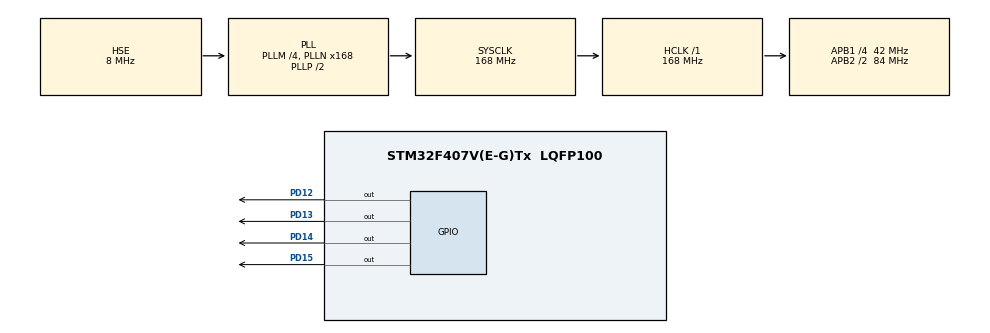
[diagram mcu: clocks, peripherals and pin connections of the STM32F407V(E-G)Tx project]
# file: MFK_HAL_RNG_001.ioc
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Mcu.Family=STM32F4
Mcu.Name=STM32F407V(E-G)Tx
Mcu.Package=LQFP100
NVIC.PriorityGroup=NVIC_PRIORITYGROUP_4
PA13.Mode=Serial_Wire
PA13.Signal=SYS_JTMS-SWDIO
PA14.Mode=Serial_Wire
PA14.Signal=SYS_JTCK-SWCLK
PD12.Signal=GPIO_Output
PD13.Signal=GPIO_Output
PD14.Signal=GPIO_Output
PD15.Signal=GPIO_Output
PH0-OSC_IN.Mode=HSE-External-Oscillator
PH0-OSC_IN.Signal=RCC_OSC_IN
PH1-OSC_OUT.Mode=HSE-External-Oscillator
PH1-OSC_OUT.Signal=RCC_OSC_OUT
ProjectManager.HeapSize=0x200
ProjectManager.StackSize=0x400
ProjectManager.TargetToolchain=STM32CubeIDE
RCC.48MHZClocksFreq_Value=48000000
RCC.AHBFreq_Value=168000000
RCC.APB1CLKDivider=RCC_HCLK_DIV4
RCC.APB1Freq_Value=42000000
RCC.APB1TimFreq_Value=84000000
RCC.APB2CLKDivider=RCC_HCLK_DIV2
RCC.APB2Freq_Value=84000000
RCC.APB2TimFreq_Value=168000000
RCC.CortexFreq_Value=168000000
RCC.HCLKFreq_Value=168000000
RCC.HSE_VALUE=8000000
RCC.HSI_VALUE=16000000
RCC.LSE_VALUE=32768
RCC.PLLM=4
RCC.PLLN=168
RCC.PLLQ=7
RCC.PLLSourceVirtual=RCC_PLLSOURCE_HSE
RCC.SYSCLKFreq_VALUE=168000000
RCC.SYSCLKSource=RCC_SYSCLKSOURCE_PLLCLK
RCC.VCOOutputFreq_Value=336000000
VP_RNG_VS_RNG.Mode=RNG_Activate
board=custom

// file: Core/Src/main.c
/* USER CODE BEGIN Header */
/**
  ******************************************************************************
  * @file           : main.c
  * @brief          : Main program body
  ******************************************************************************
  * @attention
  *
  * Copyright (c) 2023 STMicroelectronics.
  * All rights reserved.
  *
  * This software is licensed under terms that can be found in the LICENSE file
  * in the root directory of this software component.
  * If no LICENSE file comes with this software, it is provided AS-IS.
  *
  ******************************************************************************
  */
/* USER CODE END Header */
#include "main.h"

/* USER CODE BEGIN Includes */

uint32_t randomData;

void RNG_Init()
{
	RNG->CR |= (1 << 2);
	RNG->SR |= (1 << 0);
}

/* USER CODE END Includes */

RNG_HandleTypeDef hrng;

void SystemClock_Config(void);
static void MX_GPIO_Init(void);
static void MX_RNG_Init(void);

int main(void)
{

  /* MCU Configuration--------------------------------------------------------*/

  /* Reset of all peripherals, Initializes the Flash interface and the Systick. */
  HAL_Init();

  /* Configure the system clock */
  SystemClock_Config();

  /* Initialize all configured peripherals */
  MX_GPIO_Init();
  MX_RNG_Init();
  /* USER CODE BEGIN 2 */

  RNG_Init();

  /* USER CODE END 2 */

  /* Infinite loop */
  while (1)
  {

    /* USER CODE BEGIN 3 */
	  randomData = RNG->DR;

	  int temp_led;

	  temp_led = randomData % 3;

	  if(temp_led == 0)
	  {
		  HAL_GPIO_WritePin(GPIOD,GPIO_PIN_12,1);
		  HAL_GPIO_WritePin(GPIOD,GPIO_PIN_13 | GPIO_PIN_14 | GPIO_PIN_15,0);
	  }
	  else if(temp_led == 1)
	  {
		  HAL_GPIO_WritePin(GPIOD,GPIO_PIN_13,1);
		  HAL_GPIO_WritePin(GPIOD,GPIO_PIN_12 | GPIO_PIN_14 | GPIO_PIN_15,0);
	  }
	  else if(temp_led == 2)
	  {
		  HAL_GPIO_WritePin(GPIOD,GPIO_PIN_14,1);
		  HAL_GPIO_WritePin(GPIOD,GPIO_PIN_12 | GPIO_PIN_13 | GPIO_PIN_15,0);
	  }
	  else if(temp_led == 3)
	  {
		  HAL_GPIO_WritePin(GPIOD,GPIO_PIN_15,1);
		  HAL_GPIO_WritePin(GPIOD,GPIO_PIN_12 | GPIO_PIN_13 | GPIO_PIN_14,0);
	  }

	  HAL_Delay(3000);
  }
  /* USER CODE END 3 */
}

void SystemClock_Config(void)
{
  RCC_OscInitTypeDef RCC_OscInitStruct = {0};
  RCC_ClkInitTypeDef RCC_ClkInitStruct = {0};

  /** Configure the main internal regulator output voltage
  */
  __HAL_RCC_PWR_CLK_ENABLE();
  __HAL_PWR_VOLTAGESCALING_CONFIG(PWR_REGULATOR_VOLTAGE_SCALE1);

  /** Initializes the RCC Oscillators according to the specified parameters
  * in the RCC_OscInitTypeDef structure.
  */
  RCC_OscInitStruct.OscillatorType = RCC_OSCILLATORTYPE_HSE;
  RCC_OscInitStruct.HSEState = RCC_HSE_ON;
  RCC_OscInitStruct.PLL.PLLState = RCC_PLL_ON;
  RCC_OscInitStruct.PLL.PLLSource = RCC_PLLSOURCE_HSE;
  RCC_OscInitStruct.PLL.PLLM = 4;
  RCC_OscInitStruct.PLL.PLLN = 168;
  RCC_OscInitStruct.PLL.PLLP = RCC_PLLP_DIV2;
  RCC_OscInitStruct.PLL.PLLQ = 7;
  if (HAL_RCC_OscConfig(&RCC_OscInitStruct) != HAL_OK)
  {
    Error_Handler();
  }

  /** Initializes the CPU, AHB and APB buses clocks
  */
  RCC_ClkInitStruct.ClockType = RCC_CLOCKTYPE_HCLK|RCC_CLOCKTYPE_SYSCLK
                              |RCC_CLOCKTYPE_PCLK1|RCC_CLOCKTYPE_PCLK2;
  RCC_ClkInitStruct.SYSCLKSource = RCC_SYSCLKSOURCE_PLLCLK;
  RCC_ClkInitStruct.AHBCLKDivider = RCC_SYSCLK_DIV1;
  RCC_ClkInitStruct.APB1CLKDivider = RCC_HCLK_DIV4;
  RCC_ClkInitStruct.APB2CLKDivider = RCC_HCLK_DIV2;

  if (HAL_RCC_ClockConfig(&RCC_ClkInitStruct, FLASH_LATENCY_5) != HAL_OK)
  {
    Error_Handler();
  }
}

static void MX_RNG_Init(void)
{

  hrng.Instance = RNG;
  if (HAL_RNG_Init(&hrng) != HAL_OK)
  {
    Error_Handler();
  }

}

static void MX_GPIO_Init(void)
{
  GPIO_InitTypeDef GPIO_InitStruct = {0};

  /* GPIO Ports Clock Enable */
  __HAL_RCC_GPIOH_CLK_ENABLE();
  __HAL_RCC_GPIOD_CLK_ENABLE();
  __HAL_RCC_GPIOA_CLK_ENABLE();

  /*Configure GPIO pin Output Level */
  HAL_GPIO_WritePin(GPIOD, GPIO_PIN_12|GPIO_PIN_13|GPIO_PIN_14|GPIO_PIN_15, GPIO_PIN_RESET);

  /*Configure GPIO pins : PD12 PD13 PD14 PD15 */
  GPIO_InitStruct.Pin = GPIO_PIN_12|GPIO_PIN_13|GPIO_PIN_14|GPIO_PIN_15;
  GPIO_InitStruct.Mode = GPIO_MODE_OUTPUT_PP;
  GPIO_InitStruct.Pull = GPIO_NOPULL;
  GPIO_InitStruct.Speed = GPIO_SPEED_FREQ_LOW;
  HAL_GPIO_Init(GPIOD, &GPIO_InitStruct);

}

void Error_Handler(void)
{
  __disable_irq();
  while (1)
  {
  }
}
